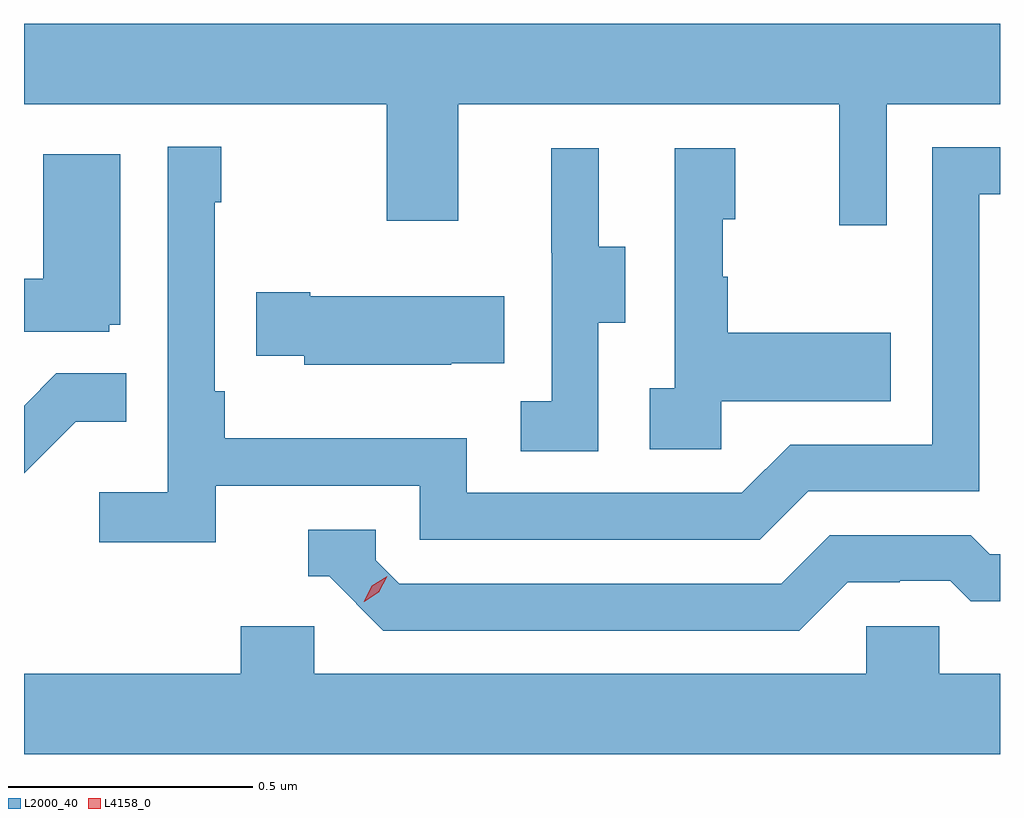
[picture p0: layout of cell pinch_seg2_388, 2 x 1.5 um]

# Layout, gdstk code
import gdstk
lib = gdstk.Library(unit=1e-6, precision=1e-09)
def P(c, l, *ps):  # polygons
    for p in ps: c.add(gdstk.Polygon(p, *l))
L2000_40 = (2000, 40)
L4158_0 = (4158, 0)

pinch_seg2_388 = lib.new_cell('pinch_seg2_388')
P(pinch_seg2_388, L2000_40, [(1010.895,617),(1011.127,617),(1011.127,617.164),(1009.127,617.164),(1009.127,617),(1009.87,617),(1009.87,616.761),(1010.017,616.761),(1010.017,617),(1010.798,617),(1010.798,616.752),(1010.895,616.752)],
  [(1009.52,616.218),(1009.938,616.218),(1009.938,616.107),(1010.635,616.107),(1010.734,616.206),(1011.084,616.206),(1011.084,616.815),(1011.127,616.815),(1011.127,616.911),(1010.988,616.911),(1010.988,616.302),(1010.697,616.302),(1010.598,616.203),(1010.034,616.203),(1010.034,616.315),(1009.538,616.315),(1009.538,616.411),(1009.518,616.411),(1009.518,616.799),(1009.531,616.799),(1009.531,616.912),(1009.422,616.912),(1009.422,616.204),(1009.281,616.204),(1009.281,616.102),(1009.52,616.102)],
  [(1010.556,616.391),(1010.903,616.391),(1010.903,616.531),(1010.569,616.531),(1010.569,616.646),(1010.559,616.646),(1010.559,616.764),(1010.584,616.764),(1010.584,616.909),(1010.46,616.909),(1010.46,616.418),(1010.409,616.418),(1010.409,616.293),(1010.556,616.293)],
  [(1010.304,616.552),(1010.359,616.552),(1010.359,616.707),(1010.305,616.707),(1010.305,616.909),(1010.207,616.909),(1010.207,616.695),(1010.208,616.695),(1010.208,616.391),(1010.145,616.391),(1010.145,616.288),(1010.304,616.288)],
  [(1009.302,616.548),(1009.324,616.548),(1009.324,616.897),(1009.166,616.897),(1009.166,616.642),(1009.127,616.642),(1009.127,616.533),(1009.302,616.533)],
  [(1010.003,616.469),(1010.111,616.469),(1010.111,616.606),(1009.714,616.606),(1009.714,616.614),(1009.603,616.614),(1009.603,616.484),(1009.701,616.484),(1009.701,616.466),(1010.003,616.466)],
  [(1009.233,616.349),(1009.337,616.349),(1009.337,616.448),(1009.193,616.448),(1009.127,616.382),(1009.127,616.243)],
  [(1010.815,616.02),(1010.922,616.02),(1010.922,616.023),(1011.025,616.023),(1011.067,615.981),(1011.127,615.981),(1011.127,616.077),(1011.106,616.077),(1011.067,616.116),(1010.778,616.116),(1010.679,616.017),(1009.896,616.017),(1009.848,616.065),(1009.848,616.128),(1009.709,616.128),(1009.709,616.032),(1009.752,616.032),(1009.863,615.921),(1010.716,615.921)],
  [(1011.127,615.832),(1011.003,615.832),(1011.003,615.93),(1010.853,615.93),(1010.853,615.832),(1009.722,615.832),(1009.722,615.93),(1009.571,615.93),(1009.571,615.832),(1009.127,615.832),(1009.127,615.668),(1011.127,615.668)])
P(pinch_seg2_388, L4158_0, [(1009.823,615.98),(1009.823,615.98),(1009.84,616.013),(1009.871,616.032),(1009.871,616.032),(1009.871,616.032),(1009.854,615.999),(1009.824,615.98)])

lib.write_gds('pinch_seg2_388.gds')
